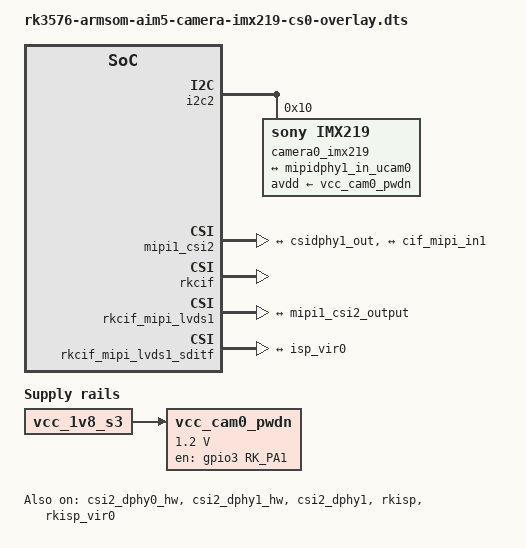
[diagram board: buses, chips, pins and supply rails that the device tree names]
/dts-v1/;
/plugin/;

#include <dt-bindings/clock/rockchip,rk3576-cru.h>
#include <dt-bindings/power/rk3576-power.h>
#include <dt-bindings/gpio/gpio.h>
#include <dt-bindings/pinctrl/rockchip.h>

/ {
	fragment@0 {
		target-path = "/";
		__overlay__ {
			vcc_cam0_pwdn: vcc-cam0-pwdn {
				compatible = "regulator-fixed";
				regulator-name = "vcc_cam0_pwdn";
				regulator-min-microvolt = <1200000>;
				regulator-max-microvolt = <1200000>;
				regulator-boot-on;
				regulator-always-on;
				enable-active-high;
				vin-supply = <&vcc_1v8_s3>;
				gpio = <&gpio3 RK_PA1 GPIO_ACTIVE_HIGH>;
			};
		};
	};
	
	fragment@1 {
		target = <&i2c2>;
		__overlay__ {
			status = "okay";
			pinctrl-names = "default";
			pinctrl-0 = <&i2c2m0_xfer>;
			#address-cells = <1>;
			#size-cells = <0>;

			camera0_imx219: camera0-imx219@10 {
				status = "okay";
				compatible = "sony,imx219";
				reg = <0x10>;
				clocks = <&cru CLK_MIPI_CAMERAOUT_M0>;
				clock-names = "xvclk";
				pinctrl-names = "rockchip,camera_default";
				pinctrl-0 = <&cam_clk0m1_clk0>;//
				avdd-supply = <&vcc_cam0_pwdn>;
				rockchip,camera-module-index = <0>;
				rockchip,camera-module-facing = "back";
				rockchip,camera-module-name = "rpi-camera-v2";
				rockchip,camera-module-lens-name = "default";
				port {
					imx219_out0: endpoint {
						remote-endpoint = <&mipidphy1_in_ucam0>;
						data-lanes = <1 2>;
						clock-noncontinuous;
						link-frequencies = /bits/ 64 <456000000>;
					};
				};
			};
		};
	};
	
	fragment@2 {
		target = <&csi2_dphy0_hw>;

		__overlay__ {
			status = "okay";
		};
	};
	
	fragment@3 {
		target = <&csi2_dphy1_hw>;

		__overlay__ {
			status = "okay";
		};
	};

/* 1. camera0_imx219 (i2c2) -> csi2_dphy1 -> mipi1_csi2 -> rkcif_mipi_lvds1 -> isp_vir0 (video0)*/
	fragment@4 {
		target = <&csi2_dphy1>;

		__overlay__ {
			status = "okay";
			ports {
				#address-cells = <1>;
				#size-cells = <0>;

				port@0 {
					reg = <0>;
					#address-cells = <1>;
					#size-cells = <0>;

					mipidphy1_in_ucam0: endpoint@1 {
						reg = <1>;
						remote-endpoint = <&imx219_out0>;
						data-lanes = <1 2>;
					};
				};

				port@1 {
					reg = <1>;
					#address-cells = <1>;
					#size-cells = <0>;

					csidphy1_out: endpoint@0 {
						reg = <0>;
						remote-endpoint = <&mipi1_csi2_input>;
					};
				};
			};
		};
	};
	
	fragment@5 {
		target = <&mipi1_csi2>;

		__overlay__ {
			status = "okay";
			ports {
				#address-cells = <1>;
				#size-cells = <0>;

				port@0 {
					reg = <0>;
					#address-cells = <1>;
					#size-cells = <0>;

					mipi1_csi2_input: endpoint@1 {
						reg = <1>;
						remote-endpoint = <&csidphy1_out>;
					};
				};

				port@1 {
					reg = <1>;
					#address-cells = <1>;
					#size-cells = <0>;

					mipi1_csi2_output: endpoint@0 {
						reg = <0>;
						remote-endpoint = <&cif_mipi_in1>;
					};
				};
			};
		};
	};
	
	fragment@6 {
		target = <&rkcif>;

		__overlay__ {
			status = "okay";
		};
	};
	
	fragment@7 {
		target = <&rkcif_mmu>;

		__overlay__ {
			status = "okay";
		};
	};

	fragment@8 {
		target = <&rkisp>;

		__overlay__ {
			status = "okay";
		};
	};
	
	fragment@9 {
		target = <&rkisp_mmu>;

		__overlay__ {
			status = "okay";
		};
	};

/*  camera0_imx219 */
	fragment@10 {
		target = <&rkcif_mipi_lvds1>;

		__overlay__ {
			status = "okay";
			port {
				cif_mipi_in1: endpoint {
					remote-endpoint = <&mipi1_csi2_output>;
				};
			};
		};
	};
	
	fragment@11 {
		target = <&rkcif_mipi_lvds1_sditf>;

		__overlay__ {
			status = "okay";
			port {
				mipi1_lvds_sditf: endpoint {
					remote-endpoint = <&isp_vir0>;   
				};
			};
		};
	};
	
	fragment@12 {
		target = <&rkisp_vir0>;

		__overlay__ {
			status = "okay";
			port {
				#address-cells = <1>;
				#size-cells = <0>;

				isp_vir0: endpoint@0 {   
					reg = <0>;
					remote-endpoint = <&mipi1_lvds_sditf>;
				};
			};
		};
	};
};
